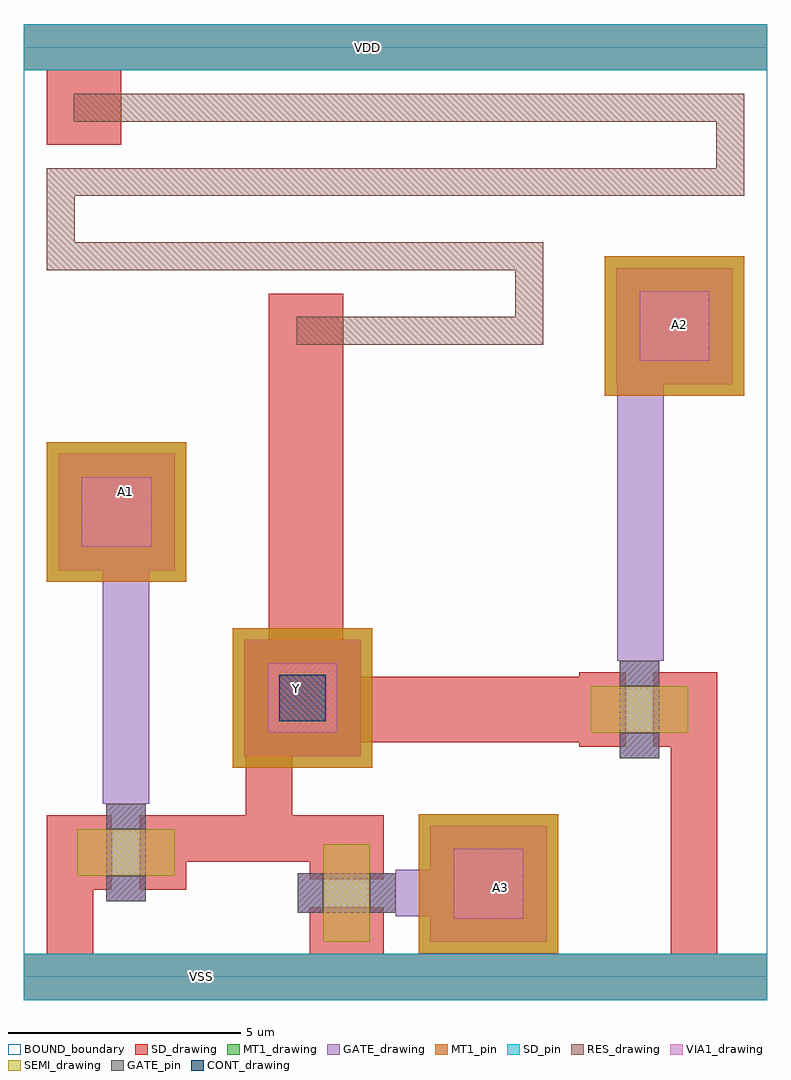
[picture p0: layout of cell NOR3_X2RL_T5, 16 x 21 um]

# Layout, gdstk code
from math import pi, radians
import gdstk
lib = gdstk.Library(unit=1e-6, precision=1e-09)
def R(c, l, rs):  # rectangles x0, y0, x1, y1
    for r in rs: c.add(gdstk.rectangle(r[:2], r[2:], *l))
def P(c, l, *ps):  # polygons
    for p in ps: c.add(gdstk.Polygon(p, *l))
RES_drawing = (1, 0)
SEMI_drawing = (3, 0)
SD_drawing = (10, 0)
SD_pin = (10, 3)
GATE_drawing = (11, 0)
GATE_pin = (11, 3)
MT1_drawing = (20, 0)
MT1_pin = (20, 3)
CONT_drawing = (30, 0)
VIA1_drawing = (41, 0)
BOUND_boundary = (150, 5)

nch_cdns_772545076810 = lib.new_cell('nch_CDNS_772545076810')
R(nch_cdns_772545076810, SEMI_drawing, [(-1.05,-0.5,1.05,0.5)])
R(nch_cdns_772545076810, SD_drawing, [(-1.3,-0.8,-0.3,0.8), (0.3,-0.8,1.3,0.8)])
R(nch_cdns_772545076810, GATE_drawing, [(-0.425,-1.05,0.425,1.05)])
R(nch_cdns_772545076810, GATE_pin, [(-0.425,-1.05,0.425,-0.5), (-0.425,0.5,0.425,1.05)])

gate_mt1_cdns_7725450768 = lib.new_cell('GATE_MT1_CDNS_772545076810')
R(gate_mt1_cdns_7725450768, GATE_drawing, [(-1.25,-1.25,1.25,1.25)])
R(gate_mt1_cdns_7725450768, MT1_drawing, [(-1.25,-1.25,1.25,1.25)])
R(gate_mt1_cdns_7725450768, VIA1_drawing, [(-0.75,-0.75,0.75,0.75)])

sd_gate_cdns_77254507681 = lib.new_cell('SD_GATE_CDNS_772545076811')
R(sd_gate_cdns_77254507681, SD_drawing, [(-1.25,-1.25,1.25,1.25)])
R(sd_gate_cdns_77254507681, GATE_drawing, [(-1.25,-1.25,1.25,1.25)])
R(sd_gate_cdns_77254507681, CONT_drawing, [(-0.5,-0.5,0.5,0.5)])

nor3_x2rl_t5 = lib.new_cell('NOR3_X2RL_T5')
R(nor3_x2rl_t5, SD_drawing, [(0,-0.5,16,0.5), (0.5,0.5,1.5,3.475), (13.925,0.5,14.925,6.55), (3.5,2.475,7.75,3.475), (5.275,13.1,6.875,14.7), (0.5,17.9,2.1,19.5), (0,19.5,16,20.5)])
R(nor3_x2rl_t5, SD_pin, [(0,-0.5,16,0.5), (0,19.5,16,20.5)])
P(nor3_x2rl_t5, GATE_drawing, [(2.7,3.825),(1.7,3.825),(1.7,3.725),(1.825,3.725),(1.825,3.675),(2.575,3.675),(2.575,3.725),(2.7,3.725)],
  [(8.1,1.3),(8.1,2.3),(8,2.3),(8,2.175),(7.95,2.175),(7.95,1.425),(8,1.425),(8,1.3)],
  [(13.775,6.9),(12.775,6.9),(12.775,6.8),(12.875,6.8),(12.875,6.75),(13.625,6.75),(13.625,6.8),(13.775,6.8)])
R(nor3_x2rl_t5, MT1_drawing, [(8.5,0.5,11.5,3.5), (4.5,4.5,7.5,7.5), (0.5,8.5,3.5,11.5), (12.5,12.5,15.5,15.5)])
R(nor3_x2rl_t5, MT1_pin, [(8.5,0.5,11.5,3.5), (4.5,4.5,7.5,7.5), (0.5,8.5,3.5,11.5), (12.5,12.5,15.5,15.5)])
R(nor3_x2rl_t5, BOUND_boundary, [(0,0,16,20)])
nor3_x2rl_t5.add(gdstk.FlexPath([(2.2,3.825),(2.2,8.75)], 1, ends="flush", simple_path=True, layer=11, datatype=0))  # GATE_drawing
nor3_x2rl_t5.add(gdstk.FlexPath([(13.275,6.9),(13.275,12.25)], 1, ends=(0, 0.5), simple_path=True, layer=11, datatype=0))  # GATE_drawing
nor3_x2rl_t5.add(gdstk.FlexPath([(8.1,1.8),(8.75,1.8)], 1, ends="flush", simple_path=True, layer=11, datatype=0))  # GATE_drawing
nor3_x2rl_t5.add(gdstk.FlexPath([(6.075,13.1),(6.075,7.15)], 1.6, ends=(0, 0.7), simple_path=True, layer=10, datatype=0))  # SD_drawing
nor3_x2rl_t5.add(gdstk.FlexPath([(5.275,2.975),(5.275,5.05)], 1, ends=(0.5, 0), simple_path=True, layer=10, datatype=0))  # SD_drawing
nor3_x2rl_t5.add(gdstk.FlexPath([(11.95,5.75),(5.275,5.75)], 1.4, ends="flush", simple_path=True, layer=10, datatype=0))  # SD_drawing
nor3_x2rl_t5.add(gdstk.FlexPath([(2.075,18.7),(15.2,18.7),(15.2,17.1),(0.8,17.1),(0.8,15.5),(10.875,15.5),(10.875,13.9),(6.875,13.9)], 0.6, ends=(1, 1), simple_path=True, layer=1, datatype=0))  # RES_drawing
nor3_x2rl_t5.add(gdstk.Reference(nch_cdns_772545076810, (2.2,2.675)))
nor3_x2rl_t5.add(gdstk.Reference(nch_cdns_772545076810, (13.25,5.75), rotation=pi))
nor3_x2rl_t5.add(gdstk.Reference(nch_cdns_772545076810, (6.95,1.8), rotation=pi/2))
nor3_x2rl_t5.add(gdstk.Reference(gate_mt1_cdns_7725450768, (14,14), x_reflection=True))
nor3_x2rl_t5.add(gdstk.Reference(gate_mt1_cdns_7725450768, (10,2), x_reflection=True))
nor3_x2rl_t5.add(gdstk.Reference(gate_mt1_cdns_7725450768, (6,6)))
nor3_x2rl_t5.add(gdstk.Reference(gate_mt1_cdns_7725450768, (2,10)))
nor3_x2rl_t5.add(gdstk.Reference(sd_gate_cdns_77254507681, (6,6)))
nor3_x2rl_t5.add(gdstk.Label('VSS', (3.825,0), layer=10, texttype=3))
nor3_x2rl_t5.add(gdstk.Label('VDD', (7.4,20), layer=10, texttype=3))
nor3_x2rl_t5.add(gdstk.Label('A1', (2.2,10.45), layer=20, texttype=3))
nor3_x2rl_t5.add(gdstk.Label('A2', (14.1,14.025), layer=20, texttype=3))
nor3_x2rl_t5.add(gdstk.Label('Y', (5.875,6.2), layer=20, texttype=3))
nor3_x2rl_t5.add(gdstk.Label('A3', (10.25,1.925), layer=20, texttype=3))

lib.write_gds('NOR3_X2RL_T5.gds')
